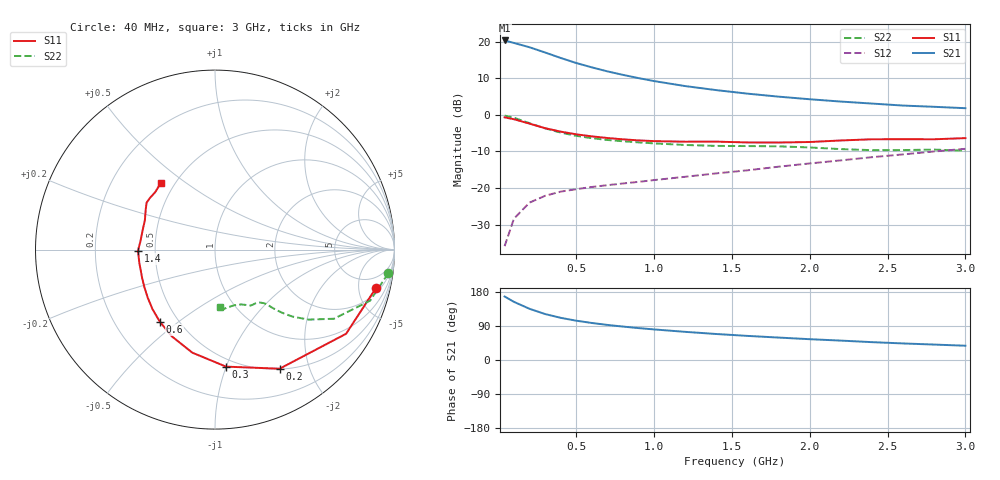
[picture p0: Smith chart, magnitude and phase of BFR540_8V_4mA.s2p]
! Filename:  BFR540G.S2P  Version:  3.0
! Philips part #: BFR540  Date: Feb 1992
! Bias condition: Vce=8V, Ic=4mA
#  MHz  S  MA  R  50
! Freq  S11  S21  S12  S22  !GUM [dB]
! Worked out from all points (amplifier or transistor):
!   21 points, 40 MHz to 3 GHz, reference 50 ohm
!   highest |S21| = 20.3 dB at 40 MHz (marker M1)
!   |S21| within 3 dB of that: start of sweep to 279.9 MHz
!   unconditionally stable (mu >= 1): 1.185 GHz to 2.568 GHz
!   at 300 MHz: K = 0.39, MSG = 19.6 dB, |S12| = -22.2 dB
!   at 1 GHz: K = 0.93, MSG = 13.5 dB, |S12| = -17.9 dB
!   at 3 GHz: K = 0.95, MSG = 5.6 dB, |S12| = -9.3 dB
!   S11 on the Smith chart (normalised r, x): 40 MHz: 2.62, -7.48; 200 MHz: 0.51, -1.56; 300 MHz: 0.44, -1.00; 600 MHz: 0.40, -0.43; 1.4 GHz: 0.40, -0.01; 3 GHz: 0.42, +0.41
40  0.921 -13.6  10.35 167.6  0.016 81.8  0.974 -7.8
100  0.868 -32.7  9.562 153.4  0.038 71.0  0.91 -18.2
200  0.755 -61.5  8.356 135.1  0.063 58.6  0.766 -30.2
300  0.655 -84.6  7.085 121.3  0.078 52.4  0.651 -36.8
400  0.588 -102.4  5.966 111.3  0.089 49.1  0.57 -40.9
500  0.54 -116.4  5.091 103.7  0.096 48.4  0.515 -43.2
600  0.506 -127.4  4.438 97.7  0.103 48.6  0.478 -44.6
700  0.481 -136.4  3.913 92.6  0.109 49.6  0.452 -45.5
800  0.461 -144.3  3.504 88.2  0.115 50.8  0.434 -46.1
900  0.446 -151.8  3.166 84.2  0.121 52.4  0.419 -46.7
1000  0.436 -158.5  2.882 80.7  0.128 53.8  0.406 -47.4
1200  0.428 -170.1  2.463 74.3  0.142 56.7  0.386 -49.8
1400  0.429 -179.1  2.168 68.6  0.158 59.4  0.375 -52.8
1600  0.418 173.6  1.941 63.6  0.174 62.1  0.373 -54.9
1800  0.417 165.7  1.766 59.2  0.195 64.0  0.37 -57.4
2000  0.424 157.1  1.627 54.9  0.216 65.2  0.357 -60.0
2200  0.445 150.2  1.513 51.2  0.238 66.0  0.339 -64.3
2400  0.462 145.6  1.421 47.1  0.263 66.2  0.328 -70.7
2600  0.463 141.8  1.334 43.7  0.287 66.1  0.329 -77.0
2800  0.462 136.1  1.283 40.7  0.315 65.7  0.334 -81.2
3000  0.479 128.9  1.228 37.7  0.342 64.8  0.322 -84.8
